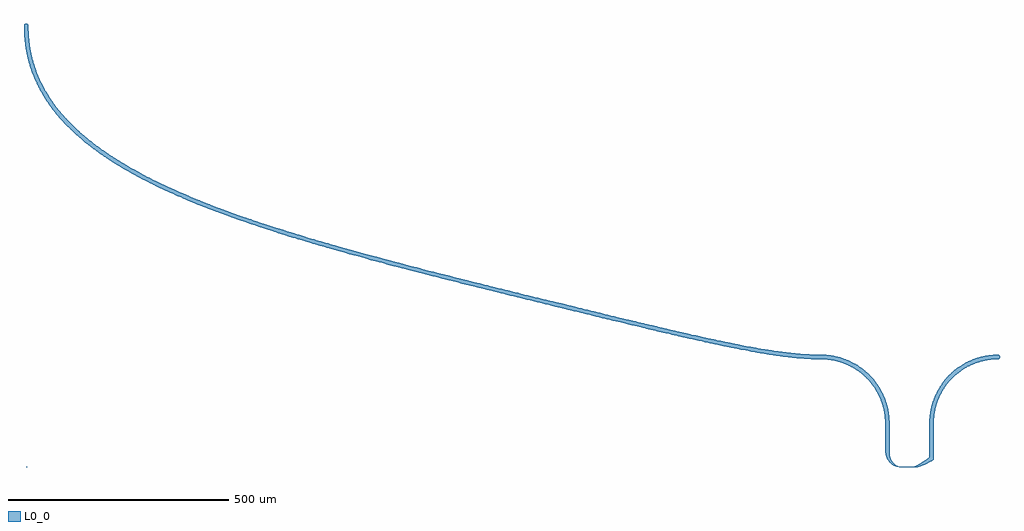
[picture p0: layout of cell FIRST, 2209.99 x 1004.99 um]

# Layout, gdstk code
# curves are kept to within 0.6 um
import gdstk
lib = gdstk.Library(unit=1e-6, precision=1e-09)
def R(c, l, rs):  # rectangles x0, y0, x1, y1
    for r in rs: c.add(gdstk.rectangle(r[:2], r[2:], *l))
def P(c, l, *ps):  # polygons
    for p in ps: c.add(gdstk.Polygon(p, *l))
L0_0 = (0, 0)

first = lib.new_cell('FIRST')
R(first, L0_0, [(0,0,2,1)])
P(first, L0_0, [(64.004,821.971),(50.69,841.464),(39.452,860.741),(30.242,879.482),(22.245,899.245),(14.643,923.617),(9.155,949.154),(5.999,974.728),(4.841,1001.251),(2.673,1004.226),(-1.552,1004.753),(-4.049,1002.933),(-5,999.992),(-4.36,979.394),(-2.369,958.661),(3.754,925.863),(12.842,895.841),(20.323,877.178),(28.556,859.973),(39.334,840.804),(50.128,824.194),(64.004,805.489)],
  [(338.065,627.64),(292.262,649.118),(247.517,672.456),(208.753,695.141),(171.6,719.762),(140.467,743.344),(110.902,769.237),(84.961,796.046),(64.004,821.971),(64.004,805.489),(83.917,782.3),(101.341,764.545),(121.533,746.145),(141.908,729.408),(165.815,711.605),(194.414,692.357),(226.183,673.035),(256.761,656.066),(292.682,637.774),(338.065,616.695)],
  [(1076.554,404.258),(821.709,469.012),(721.273,496.363),(628.013,523.432),(541.375,550.638),(467.958,575.837),(399.23,601.846),(338.065,627.64),(338.065,616.695),(401.405,590.222),(452.416,570.836),(505.923,551.953),(625.129,513.857),(718.572,486.735),(819.145,459.346),(1076.554,393.958)],
  [(1579.589,284.869),(1406.105,324.224),(1076.554,404.258),(1076.554,393.958),(1408.952,313.27),(1579.589,274.652)],
  [(1853.373,245.487),(1835.609,250.832),(1817.495,253.999),(1753.012,257.042),(1696.896,263.518),(1643.741,272.255),(1579.589,284.869),(1579.589,274.652),(1641.954,262.416),(1695.468,253.62),(1752.2,247.075),(1817.519,243.926),(1835.625,240.532),(1853.373,234.782)],
  [(1947.749,146.557),(1941.989,161.948),(1933.83,178.035),(1923.974,192.91),(1912.407,206.624),(1899.913,218.422),(1884.926,229.602),(1869.158,238.67),(1853.373,245.487),(1853.373,234.782),(1869.452,227.234),(1882.535,219.154),(1894.912,209.539),(1906.424,198.382),(1921.195,179.461),(1932.822,157.951),(1939.924,137.685),(1944.072,115.532),(1944.893,101.961),(1945,39.998),(1947.749,24.68)],
  [(2013.269,0.26),(2015.017,0.393),(2015.017,3.381),(2010,1.5),(1979.788,1.502),(1973.589,2.579),(1964.653,8.658),(1961.257,12.607),(1958.167,18.051),(1955.818,25.575),(1954.913,33.41),(1954.337,113.272),(1951.968,130.038),(1947.749,146.557),(1947.749,24.68),(1949.26,20.779),(1953.083,14.091),(1957.451,9.172),(1962.298,5.552),(1968.375,2.783),(1979.198,0.526)],
  [(2015.167,0.409),(2030.992,5.13),(2055,17.051),(2055.011,101.822),(2055.926,116.364),(2058.222,130.399),(2062.097,144.807),(2067.836,159.646),(2074.301,172.281),(2074.301,190.69),(2064.935,176.043),(2057.517,161.021),(2051.348,143.903),(2047.303,126.622),(2045.04,103.506),(2045,22.55),(2026.985,10.206),(2015.017,3.381)],
  [(2074.406,172.465),(2084.633,187.837),(2095.555,200.58),(2109.149,213.009),(2123.361,223.091),(2141.966,232.88),(2160.343,239.471),(2180.494,243.682),(2201.842,245.352),(2204.756,248.457),(2204.221,252.681),(2201.242,254.843),(2193.149,254.849),(2179.149,253.591),(2163.485,250.638),(2140.311,243.046),(2118.076,231.58),(2105.348,222.744),(2094.762,213.798),(2084.79,203.69),(2075.478,192.3),(2074.301,190.69)])

lib.write_gds('FIRST.gds')
